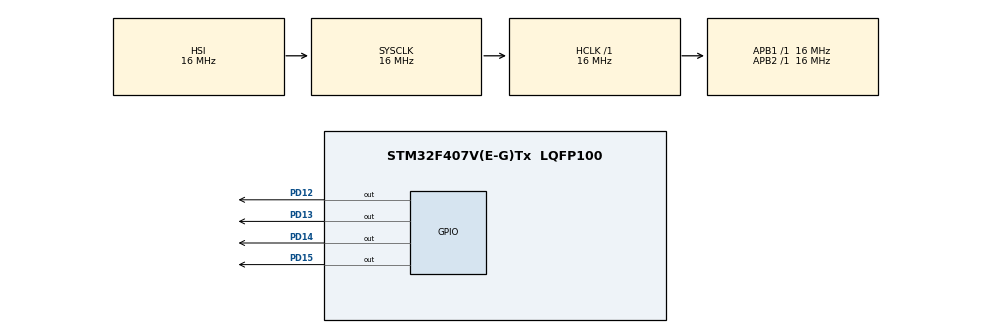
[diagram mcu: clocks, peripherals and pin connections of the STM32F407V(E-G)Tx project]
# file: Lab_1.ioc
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Mcu.Family=STM32F4
Mcu.Name=STM32F407V(E-G)Tx
Mcu.Package=LQFP100
NVIC.PriorityGroup=NVIC_PRIORITYGROUP_4
PD12.Signal=GPIO_Output
PD13.Signal=GPIO_Output
PD14.Signal=GPIO_Output
PD15.Signal=GPIO_Output
ProjectManager.HeapSize=0x200
ProjectManager.StackSize=0x400
ProjectManager.TargetToolchain=STM32CubeIDE
RCC.AHBFreq_Value=16000000
RCC.APB1Freq_Value=16000000
RCC.APB2Freq_Value=16000000
RCC.CortexFreq_Value=16000000
RCC.HSE_VALUE=25000000
RCC.HSI_VALUE=16000000
RCC.LSE_VALUE=32768
RCC.SYSCLKFreq_VALUE=16000000
RCC.VCOOutputFreq_Value=192000000
board=custom

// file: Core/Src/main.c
/* USER CODE BEGIN Header */
/**
  ******************************************************************************
  * @file           : main.c
  * @brief          : Main program body
  ******************************************************************************
  * @attention
  *
  * Copyright (c) 2025 STMicroelectronics.
  * All rights reserved.
  *
  * This software is licensed under terms that can be found in the LICENSE file
  * in the root directory of this software component.
  * If no LICENSE file comes with this software, it is provided AS-IS.
  *
  ******************************************************************************
  */
/* USER CODE END Header */
#include "main.h"

void SystemClock_Config(void);
static void MX_GPIO_Init(void);

int main(void)
{

  /* MCU Configuration--------------------------------------------------------*/

  /* Reset of all peripherals, Initializes the Flash interface and the Systick. */
  HAL_Init();

  /* Configure the system clock */
  SystemClock_Config();

  /* Initialize all configured peripherals */
  MX_GPIO_Init();
  /* USER CODE BEGIN 2 */
  uint16_t DIOD_PINS[] = {GPIO_PIN_12, GPIO_PIN_13, GPIO_PIN_14, GPIO_PIN_15};
  uint32_t i = 0;
  /* USER CODE END 2 */

  /* Infinite loop */
  /* USER CODE BEGIN WHILE */
  while (1)
  {
	  HAL_GPIO_WritePin(GPIOD, DIOD_PINS[(i) % (sizeof(DIOD_PINS) / sizeof(uint16_t))], GPIO_PIN_SET);
	  HAL_Delay(1200);

  	  HAL_GPIO_WritePin(GPIOD, DIOD_PINS[(i + 1) % (sizeof(DIOD_PINS) / sizeof(uint16_t))], GPIO_PIN_SET);
  	  HAL_Delay(900);

	  HAL_GPIO_WritePin(GPIOD, DIOD_PINS[(i + 2) % (sizeof(DIOD_PINS) / sizeof(uint16_t))], GPIO_PIN_SET);
	  HAL_Delay(600);

	  HAL_GPIO_WritePin(GPIOD, DIOD_PINS[(i + 3) % (sizeof(DIOD_PINS) / sizeof(uint16_t))], GPIO_PIN_SET);
	  HAL_Delay(300);

	  HAL_GPIO_WritePin(GPIOD, DIOD_PINS[(i + 3) % (sizeof(DIOD_PINS) / sizeof(uint16_t))], GPIO_PIN_RESET);
	  HAL_Delay(100);

	  HAL_GPIO_WritePin(GPIOD, DIOD_PINS[(i + 2) % (sizeof(DIOD_PINS) / sizeof(uint16_t))], GPIO_PIN_RESET);
	  HAL_Delay(100);

	  HAL_GPIO_WritePin(GPIOD, DIOD_PINS[(i + 1) % (sizeof(DIOD_PINS) / sizeof(uint16_t))], GPIO_PIN_RESET);
	  HAL_Delay(100);

	  HAL_GPIO_WritePin(GPIOD, DIOD_PINS[(i) % (sizeof(DIOD_PINS) / sizeof(uint16_t))], GPIO_PIN_RESET);
	  HAL_Delay(1000);

	  i++;
	  if (i > 3) {
		  i = 0;
	  }

    /* USER CODE END WHILE */

  }
}

void SystemClock_Config(void)
{
  RCC_OscInitTypeDef RCC_OscInitStruct = {0};
  RCC_ClkInitTypeDef RCC_ClkInitStruct = {0};

  /** Configure the main internal regulator output voltage
  */
  __HAL_RCC_PWR_CLK_ENABLE();
  __HAL_PWR_VOLTAGESCALING_CONFIG(PWR_REGULATOR_VOLTAGE_SCALE1);

  /** Initializes the RCC Oscillators according to the specified parameters
  * in the RCC_OscInitTypeDef structure.
  */
  RCC_OscInitStruct.OscillatorType = RCC_OSCILLATORTYPE_HSI;
  RCC_OscInitStruct.HSIState = RCC_HSI_ON;
  RCC_OscInitStruct.HSICalibrationValue = RCC_HSICALIBRATION_DEFAULT;
  RCC_OscInitStruct.PLL.PLLState = RCC_PLL_NONE;
  if (HAL_RCC_OscConfig(&RCC_OscInitStruct) != HAL_OK)
  {
    Error_Handler();
  }

  /** Initializes the CPU, AHB and APB buses clocks
  */
  RCC_ClkInitStruct.ClockType = RCC_CLOCKTYPE_HCLK|RCC_CLOCKTYPE_SYSCLK
                              |RCC_CLOCKTYPE_PCLK1|RCC_CLOCKTYPE_PCLK2;
  RCC_ClkInitStruct.SYSCLKSource = RCC_SYSCLKSOURCE_HSI;
  RCC_ClkInitStruct.AHBCLKDivider = RCC_SYSCLK_DIV1;
  RCC_ClkInitStruct.APB1CLKDivider = RCC_HCLK_DIV1;
  RCC_ClkInitStruct.APB2CLKDivider = RCC_HCLK_DIV1;

  if (HAL_RCC_ClockConfig(&RCC_ClkInitStruct, FLASH_LATENCY_0) != HAL_OK)
  {
    Error_Handler();
  }
}

static void MX_GPIO_Init(void)
{
  GPIO_InitTypeDef GPIO_InitStruct = {0};

  /* GPIO Ports Clock Enable */
  __HAL_RCC_GPIOD_CLK_ENABLE();

  /*Configure GPIO pin Output Level */
  HAL_GPIO_WritePin(GPIOD, GPIO_PIN_12|GPIO_PIN_13|GPIO_PIN_14|GPIO_PIN_15, GPIO_PIN_RESET);

  /*Configure GPIO pins : PD12 PD13 PD14 PD15 */
  GPIO_InitStruct.Pin = GPIO_PIN_12|GPIO_PIN_13|GPIO_PIN_14|GPIO_PIN_15;
  GPIO_InitStruct.Mode = GPIO_MODE_OUTPUT_PP;
  GPIO_InitStruct.Pull = GPIO_NOPULL;
  GPIO_InitStruct.Speed = GPIO_SPEED_FREQ_LOW;
  HAL_GPIO_Init(GPIOD, &GPIO_InitStruct);

}

void Error_Handler(void)
{
  __disable_irq();
  while (1)
  {
  }
}
